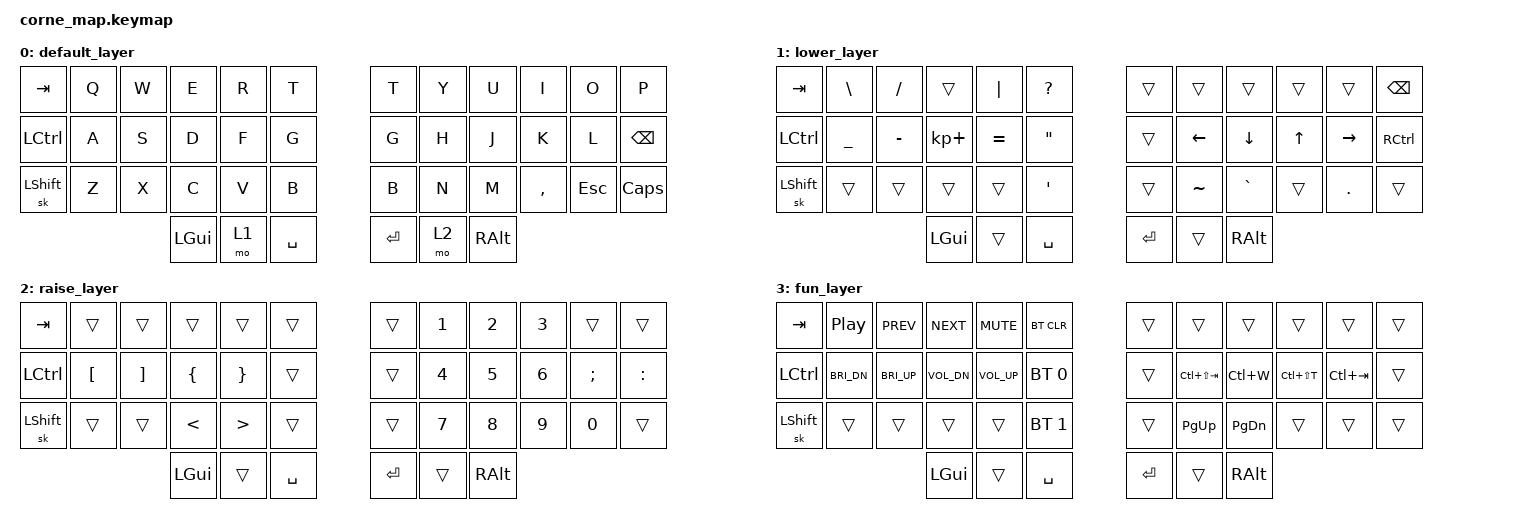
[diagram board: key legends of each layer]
/*
 * Copyright (c) 2020 The ZMK Contributors
 *
 * SPDX-License-Identifier: MIT
 */

#include <behaviors.dtsi>
#include <dt-bindings/zmk/keys.h>
#include <dt-bindings/zmk/bt.h>

/ {
        keymap {
                compatible = "zmk,keymap";

                default_layer {
                        bindings = <
   &kp TAB    &kp Q   &kp W  &kp E     &kp R  &kp T         &kp T    &kp Y  &kp U     &kp I      &kp O    &kp P
   &kp LCTRL  &kp A   &kp S  &kp D     &kp F  &kp G         &kp G    &kp H  &kp J     &kp K      &kp L    &kp BSPC
   &sk LSHFT  &kp Z   &kp X  &kp C     &kp V  &kp B         &kp B    &kp N  &kp M     &kp COMMA  &kp ESC  &kp CAPS
                             &kp LGUI  &mo 1  &kp SPACE     &kp RET  &mo 2  &kp RALT
                        >;
                };

                lower_layer {
                        bindings = <
   &kp TAB    &kp BSLH   &kp FSLH   &trans       &kp PIPE   &kp QMARK      &trans   &trans    &trans     &trans   &trans     &kp BSPC
   &kp LCTRL  &kp UNDER  &kp MINUS  &kp KP_PLUS  &kp EQUAL  &kp DQT        &trans   &kp LEFT  &kp DOWN   &kp UP   &kp RIGHT  &kp RCTRL
   &sk LSHFT  &trans     &trans     &trans       &trans     &kp SQT        &trans   &kp TILDE &kp GRAVE  &trans   &kp DOT    &trans
                    	            &kp LGUI     &trans     &kp SPACE      &kp RET  &trans    &kp RALT
                        >;
                };

                raise_layer {
                        bindings = <
   &kp TAB    &trans     &trans    &trans     &trans    &trans          &trans  &kp N1  &kp N2  &kp N3  &trans    &trans
   &kp LCTRL  &kp LBKT   &kp RBKT  &kp LBRC   &kp RBRC  &trans          &trans  &kp N4  &kp N5  &kp N6  &kp SEMI  &kp COLON
   &sk LSHFT  &trans     &trans    &kp LT     &kp GT    &trans          &trans  &kp N7  &kp N8  &kp N9  &kp N0    &trans
                          	       &kp LGUI   &trans    &kp SPACE       &kp RET &trans  &kp RALT
                        >;
                };

                fun_layer {
                        bindings = <
   &kp TAB    &kp C_PP      &kp C_PREV    &kp C_NEXT    &kp C_MUTE    &bt BT_CLR    &trans     &trans           &trans     &trans         &trans       &trans
   &kp LCTRL  &kp C_BRI_DN  &kp C_BRI_UP  &kp C_VOL_DN  &kp C_VOL_UP  &bt BT_SEL 0  &trans     &kp LC(LS(TAB))  &kp LC(W)  &kp LC(LS(T))  &kp LC(TAB)  &trans
   &sk LSHFT  &trans        &trans        &trans        &trans        &bt BT_SEL 1  &trans     &kp PG_UP        &kp PG_DN  &trans         &trans       &trans
                                          &kp LGUI      &trans        &kp SPACE     &kp RET    &trans           &kp RALT
                        >;
                };
        };
};
